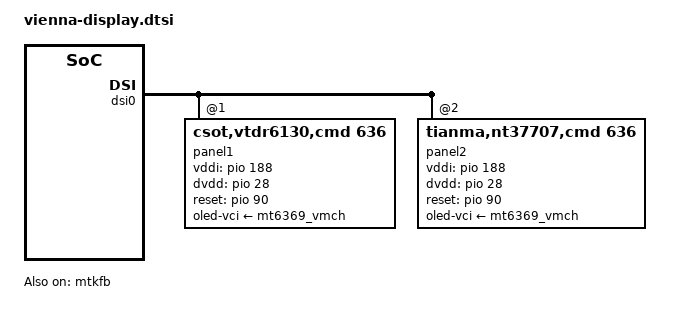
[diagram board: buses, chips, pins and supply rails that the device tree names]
/* Copyright (c) 2023, Motorola Mobility Inc. All rights reserved.
 *
 * This program is free software; you can redistribute it and/or modify
 * it under the terms of the GNU General Public License version 2 and
 * only version 2 as published by the Free Software Foundation.
 *
 * This program is distributed in the hope that it will be useful,
 * but WITHOUT ANY WARRANTY; without even the implied warranty of
 * MERCHANTABILITY or FITNESS FOR A PARTICULAR PURPOSE.  See the
 * GNU General Public License for more details.
 */
#include "mediatek/mt6369.dtsi"

//no need init vdigrf ldo which will close apu sarm supply.
/delete-node/ &mt6369_vdigrf;

&mtk_leds {
	backlight {
		/delete-property/ max-hw-brightness;
		/delete-property/ max-brightness;
		max-brightness = <4080>;
		max-hw-brightness = <4080>;
	};
};

&mipi_tx_config0 {
	mipi-volt = <11>;
};

&dsi0 {
	status = "okay";

	panel1@0 {
		/delete-property/ compatible;
		/delete-property/ pm-enable-gpios;
		/delete-property/ reset-gpios;
		/delete-property/ gate-ic;

		compatible = "csot,vtdr6130,cmd,636";
		reg = <1>;
		vddi-gpios = <&pio 188 0>;
		dvdd-gpios = <&pio 28 0>;
		oled-vci-supply = <&mt6369_vmch>;
		reset-gpios = <&pio 90 0>;
		pinctrl-names = "default";
	};

	panel2@1 {
		/delete-property/ compatible;
		/delete-property/ pm-enable-gpios;
		/delete-property/ reset-gpios;
		/delete-property/ gate-ic;

		compatible = "tianma,nt37707,cmd,636";
		reg = <2>;
		vddi-gpios = <&pio 188 0>;
		dvdd-gpios = <&pio 28 0>;
		oled-vci-supply = <&mt6369_vmch>;
		reset-gpios = <&pio 90 0>;
		pinctrl-names = "default";
	};

	panel3@2 {
		/delete-property/ compatible;
		/delete-property/ pm-enable-gpios;
		/delete-property/ reset-gpios;
		/delete-property/ gate-ic;
		/delete-property/ swap-from-dts;
		/delete-property/ lane-swap-setting;
		/delete-property/ pn-swap-setting;

		compatible = "mot,dummy,vdo,60hz";
	};
};


&mtkfb {
	/delete-property/ pinctrl-names;
	/delete-property/ pinctrl-0;
	/delete-property/ pinctrl-1;
	/delete-property/ pinctrl-2;
	/delete-property/ pinctrl-3;
	/delete-property/ pinctrl-4;
	/delete-property/ pinctrl-5;
	/delete-property/ pinctrl-6;
	/delete-property/ pinctrl-7;
	/delete-property/ pinctrl-8;
	/delete-property/ pinctrl-9;
	/delete-property/ pinctrl-10;

	pinctrl-names = "lcm_rst_out0_gpio", "mode_te_te",
		"oled_vci_en_gpio", "oled_vio_en_gpio",
		"oled_dvdd_en_gpio";

	pinctrl-0 = <&mtkfb_pins_lcm_rst_out_gpio>;
	pinctrl-1 = <&mtkfb_pins_lcm_dsi_te>;
	pinctrl-2 = <&mtkfb_pins_oled_vci_en>;
	pinctrl-3 = <&mtkfb_pins_oled_vio_en>;
	pinctrl-4 = <&mtkfb_pins_oled_avdd_en0>;

	status = "okay";

};


&pio {
	mtkfb_pins_oled_vci_en: oled_vci_en_gpio {
		pins_cmd_dat {
			pinmux = <PINMUX_GPIO153__FUNC_GPIO153>;
			slew-rate = <1>;
			output-low;
		};
	};

	mtkfb_pins_oled_vio_en: oled_vio_en_gpio {
		pins_cmd_dat {
			pinmux = <PINMUX_GPIO188__FUNC_GPIO188>;
			slew-rate = <1>;
			output-low;
		};
	};

	mtkfb_pins_oled_avdd_en0: oled_dvdd_en_gpio {
		pins_cmd_dat {
			pinmux = <PINMUX_GPIO28__FUNC_GPIO28>;
			slew-rate = <1>;
			output-low;
		};
	};

	mtkfb_pins_lcm_rst_out_gpio: lcm_rst_out_gpio {
		pins_cmd_dat {
			pinmux = <PINMUX_GPIO90__FUNC_GPIO90>;
			slew-rate = <1>;
			output-low;
		};
	};
};

&i2c6 {
	gate_ic: gate-ic@11 {
		status = "disabled";
	};
};
